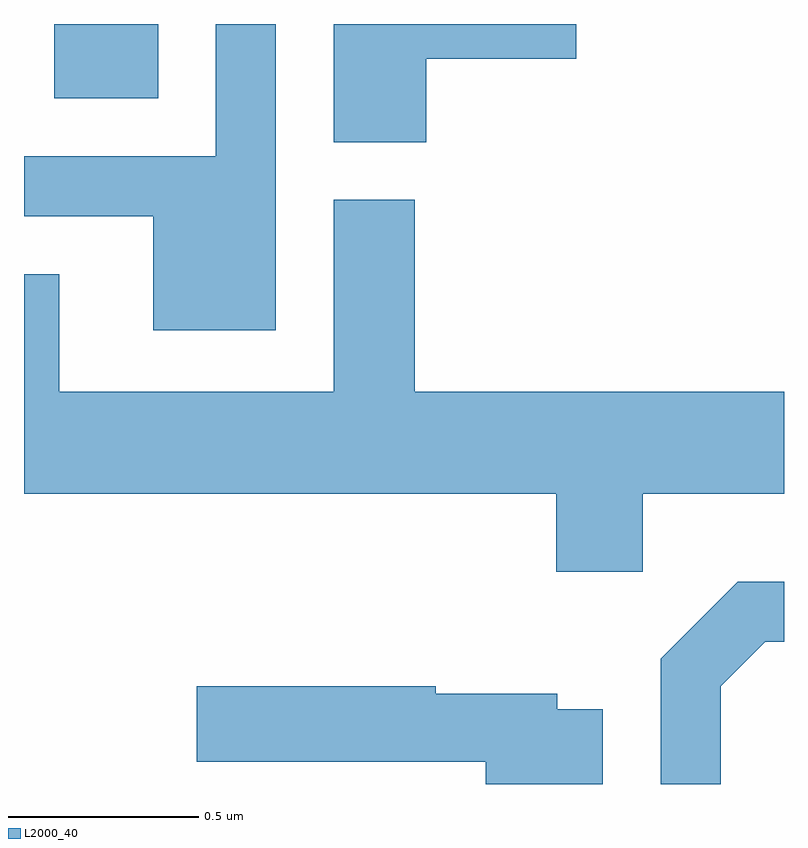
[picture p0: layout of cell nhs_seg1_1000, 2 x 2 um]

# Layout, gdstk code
import gdstk
lib = gdstk.Library(unit=1e-6, precision=1e-09)
def R(c, l, rs):  # rectangles x0, y0, x1, y1
    for r in rs: c.add(gdstk.rectangle(r[:2], r[2:], *l))
def P(c, l, *ps):  # polygons
    for p in ps: c.add(gdstk.Polygon(p, *l))
L2000_40 = (2000, 40)

nhs_seg1_1000 = lib.new_cell('nhs_seg1_1000')
R(nhs_seg1_1000, L2000_40, [(192.691,889.516,192.964,889.712)])
P(nhs_seg1_1000, L2000_40, [(193.669,889.621),(194.064,889.621),(194.064,889.712),(193.426,889.712),(193.426,889.401),(193.669,889.401)],
  [(193.274,889.712),(193.116,889.712),(193.116,889.364),(192.611,889.364),(192.611,889.206),(192.951,889.206),(192.951,888.906),(193.274,888.906)],
  [(194.239,888.476),(194.611,888.476),(194.611,888.744),(193.639,888.744),(193.639,889.249),(193.426,889.249),(193.426,888.744),(192.704,888.744),(192.704,889.054),(192.611,889.054),(192.611,888.476),(194.011,888.476),(194.011,888.271),(194.239,888.271)],
  [(194.444,887.969),(194.562,888.086),(194.611,888.086),(194.611,888.244),(194.489,888.244),(194.286,888.042),(194.286,887.712),(194.444,887.712)],
  [(194.134,887.909),(194.014,887.909),(194.014,887.949),(193.694,887.949),(193.694,887.969),(193.066,887.969),(193.066,887.771),(193.826,887.771),(193.826,887.712),(194.134,887.712)])

lib.write_gds('nhs_seg1_1000.gds')
